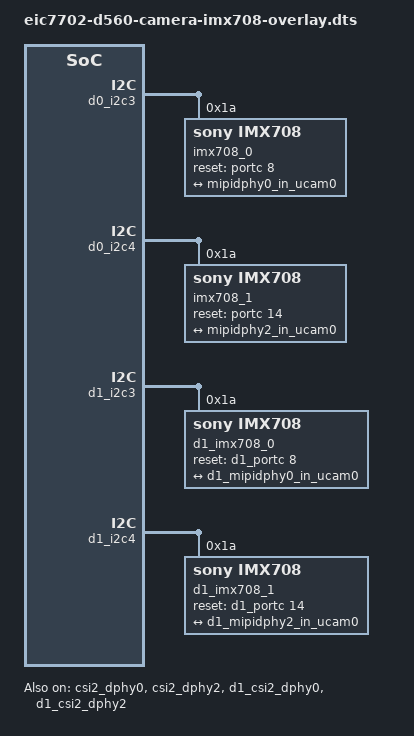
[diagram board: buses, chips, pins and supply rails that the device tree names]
/dts-v1/;
/plugin/;

/ {
	fragment@0 {
		target =  <&vi_subsys>;
		__overlay__ {
			phy_mode = <5>;
		};
	};

	fragment@1 {
		target = <&mipi_csi2_0>;
		__overlay__ {
			num_lanes = <2>;
		};
	};

	fragment@2 {
		target = <&mipi_csi2_2>;
		__overlay__ {
			num_lanes = <2>;
		};
	};

	fragment@3 {
		target = <&d1_mipi_csi2_0>;
		__overlay__ {
			num_lanes = <2>;
		};
	};

	fragment@4 {
		target = <&d1_mipi_csi2_2>;
		__overlay__ {
			num_lanes = <2>;
		};
	};

	fragment@5 {
		target = <&csi2_dphy_hw0>;
		__overlay__ {
			lanes = <1 2>;
			lanes-dp-dn = <0 0>;
		};
	};

	fragment@6 {
		target = <&csi2_dphy_hw2>;
		__overlay__ {
			lanes = <1 2>;
			lanes-dp-dn = <0 0>;
		};
	};

	fragment@7 {
		target = <&d1_csi2_dphy_hw0>;
		__overlay__ {
			lanes = <1 2>;
			lanes-dp-dn = <0 0>;
		};
	};

	fragment@8 {
		target = <&d1_csi2_dphy_hw2>;
		__overlay__ {
			lanes = <1 2>;
			lanes-dp-dn = <0 0>;
		};
	};

    fragment@9 {
		target =  <&camera_imx219>;
		__overlay__ { 
			status = "disabled";
		};
	};

	fragment@10 {
		target =  <&camera_imx219_1>;
		__overlay__ { 
			status = "disabled";
		};
	};

    fragment@11 {
		target =  <&d1_camera_imx219>;
		__overlay__ { 
			status = "disabled";
		};
	};

	fragment@12 {
		target =  <&d1_camera_imx219_1>;
		__overlay__ { 
			status = "disabled";
		};
	};

	fragment@13 { 
		target = <&mipidphy0_in_ucam0>;
		__overlay__ {
			remote-endpoint = <&imx708_out0>;
			data-lanes = <1 2>;
		};
	};

	fragment@14 {
		target = <&mipidphy2_in_ucam0>;
		__overlay__ {
			remote-endpoint = <&imx708_out1>;
			data-lanes = <1 2>;
		};
	};

	fragment@15 {
		target = <&d1_mipidphy0_in_ucam0>;
		__overlay__ {
			remote-endpoint = <&d1_imx708_out0>;
			data-lanes = <1 2>;
		};
	};

	fragment@16 {
		target = <&d1_mipidphy2_in_ucam0>;
		__overlay__ {
			remote-endpoint = <&d1_imx708_out1>;
			data-lanes = <1 2>;
		};
	};

	fragment@17 {
		target = <&csi2_dphy0>;
		__overlay__ {
			status = "okay";
		};
	};

	fragment@18 {
		target = <&csi2_dphy2>;
		__overlay__ {
			status = "okay";
		};
	};

	fragment@19 {
		target = <&d1_csi2_dphy0>;
		__overlay__ {
			status = "okay";
		};
	};

	fragment@20 {
		target = <&d1_csi2_dphy2>;
		__overlay__ {
			status = "okay";
		};
	};

	fragment@21 {
		target = <&d0_i2c3>;
		__overlay__ {
			#address-cells = <1>;
			#size-cells = <0>;
			imx708_0:imx708@1a {
				compatible = "sony,imx708";
				reg = <0x1a>;
				clock-names="inclk";
				clocks = <&d0_clock 0x244>;
				assigned-clocks = <&d0_clock 0x244>;
				assigned-clock-rates = <24000000>;
				reset-gpio = <&portc 8 0>;
				status = "okay";
				port {
					imx708_out0: endpoint {
						remote-endpoint = <&mipidphy0_in_ucam0>;
						data-lanes = <1 2>;
						link-frequencies = /bits/ 64 <450000000>;
					};
				};
			};
		};
	};

	fragment@22 {
		target = <&d0_i2c4>;
		__overlay__ {
			#address-cells = <1>;
			#size-cells = <0>;
			imx708_1:imx708@1a {
				compatible = "sony,imx708";
				reg = <0x1a>;
				clock-names="inclk";
				clocks = <&d0_clock 0x244>;
				assigned-clocks = <&d0_clock 0x244>;
				assigned-clock-rates = <24000000>;
				reset-gpio = <&portc 14 0>;
				status = "okay";
				port {
					imx708_out1: endpoint {
						remote-endpoint = <&mipidphy2_in_ucam0>;
						data-lanes = <1 2>;
						link-frequencies = /bits/ 64 <450000000>;
					};
				};
			};
		};
	};

	fragment@23 {
		target = <&d1_i2c3>;
		__overlay__ {
			#address-cells = <1>;
			#size-cells = <0>;
			d1_imx708_0: imx708@1a {
				compatible = "sony,imx708";
				reg = <0x1a>;
				clock-names="inclk";
				clocks = <&d1_clock 0x244>;
				assigned-clocks = <&d1_clock 0x244>;
				assigned-clock-rates = <24000000>;
				reset-gpio = <&d1_portc 8 0>;
				status = "okay";
				port {
					d1_imx708_out0: endpoint {
						remote-endpoint = <&d1_mipidphy0_in_ucam0>;
						data-lanes = <1 2>;
						link-frequencies = /bits/ 64 <450000000>;
					};
				};
			};
		};
	};

	fragment@24 {
		target = <&d1_i2c4>;
		__overlay__ {
			#address-cells = <1>;
			#size-cells = <0>;
			d1_imx708_1: imx708@1a {
				compatible = "sony,imx708";
				reg = <0x1a>;
				clock-names="inclk";
				clocks = <&d1_clock 0x244>;
				assigned-clocks = <&d1_clock 0x244>;
				assigned-clock-rates = <24000000>;
				reset-gpio = <&d1_portc 14 0>;
				status = "okay";
				port {
					d1_imx708_out1: endpoint {
						remote-endpoint = <&d1_mipidphy2_in_ucam0>;
						data-lanes = <1 2>;
						link-frequencies = /bits/ 64 <450000000>;
					};
				};
			};
		};
	};
};

